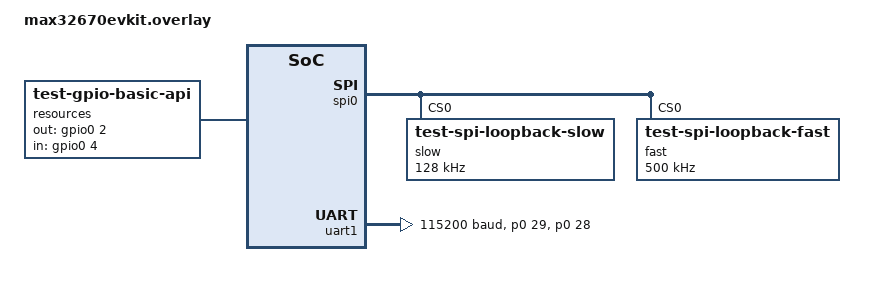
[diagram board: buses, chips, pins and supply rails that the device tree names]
/*
 * Copyright (c) 2024 Analog Devices, Inc.
 *
 * SPDX-License-Identifier: Apache-2.0
 */

tst_dma0: &dma0 {};

&spi0 {
	dmas = <&dma0 1 MAX32_DMA_SLOT_SPI0_TX>, <&dma0 2 MAX32_DMA_SLOT_SPI0_RX>;
	dma-names = "tx", "rx";
	slow@0 {
		compatible = "test-spi-loopback-slow";
		reg = <0>;
		spi-max-frequency = <128000>;
	};
	fast@0 {
		compatible = "test-spi-loopback-fast";
		reg = <0>;
		spi-max-frequency = <500000>;
	};
};

/ {
	resources {
		compatible = "test-gpio-basic-api";
		out-gpios = <&gpio0 2 0>;
		in-gpios = <&gpio0 4 0>;
	};
};

dut: &uart1 {
	status = "okay";
	pinctrl-0 = <&uart1a_tx_p0_29 &uart1a_rx_p0_28>;
	pinctrl-names = "default";
	dmas = <&dma0 1 MAX32_DMA_SLOT_UART1_TX>, <&dma0 2 MAX32_DMA_SLOT_UART1_RX>;
	dma-names = "tx", "rx";
	current-speed = <115200>;
	data-bits = <8>;
	parity = "none";
};
